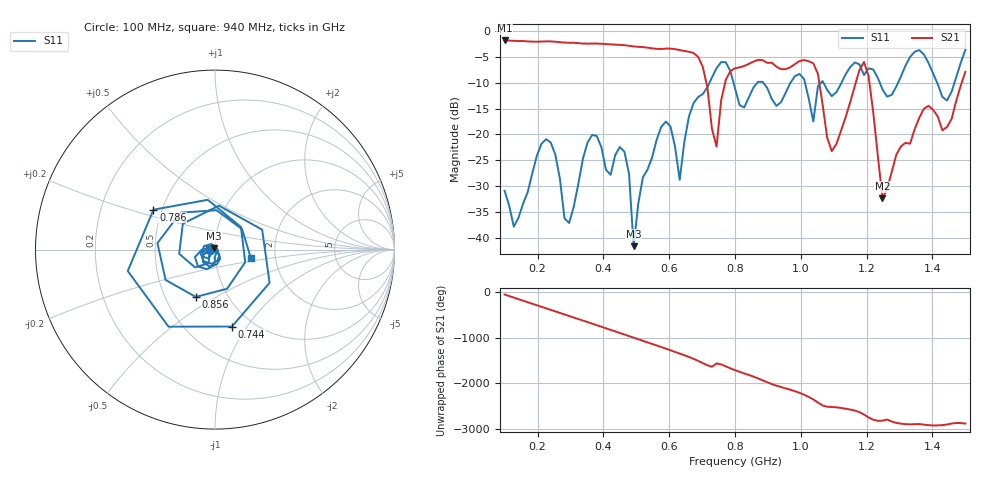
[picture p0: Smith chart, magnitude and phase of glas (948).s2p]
! NanoVNA-App
! Date: 2025-09-25 16:02:51
! Start: 100MHz Stop: 1,5GHz Points: 101
! S-Parameter data: F S11 S21 S12 S22
# Hz S RI R 50
!  Frequency  S11_Real  S11_Imag  S21_Real  S21_Imag  S12_Real  S12_Imag  S22_Real  S22_Imag
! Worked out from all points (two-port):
!   101 points, 100 MHz to 1.5 GHz, reference 50 ohm
!   highest |S21| = -1.80 dB at 100 MHz (marker M1); lowest = -32.4 dB at 1.248 GHz (marker M2)
!   |S21| within 3 dB of the highest: start of sweep to 684.6 MHz
!   lowest |S11| = -41.6 dB at 492 MHz (marker M3), VSWR 1.02, Z = 49.5 + j0.616 ohm
!   |S11| at or under -10 dB: start of sweep to 722.5 MHz; 795.5 MHz to 867.6 MHz (72.09 MHz wide, 8.67 % of centre); 886.1 MHz to 968.4 MHz (82.32 MHz wide, 8.88 % of centre) (the widest 3 of 7)
!   S12 and S22 are empty: the file has one direction only
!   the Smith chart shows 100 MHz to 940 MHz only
!   S11 on the Smith chart (normalised r, x): 100 MHz: 0.94, -0.01; 744 MHz: 0.80, -0.85; 786 MHz: 0.45, +0.24; 856 MHz: 0.71, -0.41; 940 MHz: 1.49, -0.15
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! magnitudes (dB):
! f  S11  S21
! 100 MHz  -30.9  -1.8
! 128 MHz  -37.9  -1.9
! 226 MHz  -20.9  -2.0
! 296 MHz  -37.2  -2.2
! 338 MHz  -24.7  -2.4
! 464 MHz  -23.4  -2.7
! 492 MHz  -41.6  -3.0
! 576 MHz  -18.5  -3.5
! 632 MHz  -28.8  -3.7
! 702 MHz  -12.2  -6.9
! 744 MHz  -7.2  -22.4
! 786 MHz  -7.8  -7.7
! 800 MHz  -11.0  -7.2
! 856 MHz  -10.9  -5.9
! 940 MHz  -13.7  -7.3
! 1.038 GHz  -17.5  -6.2
! 1.094 GHz  -12.6  -23.2
! 1.192 GHz  -8.5  -6.0
! 1.248 GHz  -11.3  -32.4
! 1.276 GHz  -12.3  -27.3
! 1.444 GHz  -13.4  -18.6
! 1.5 GHz  -3.6  -7.8
